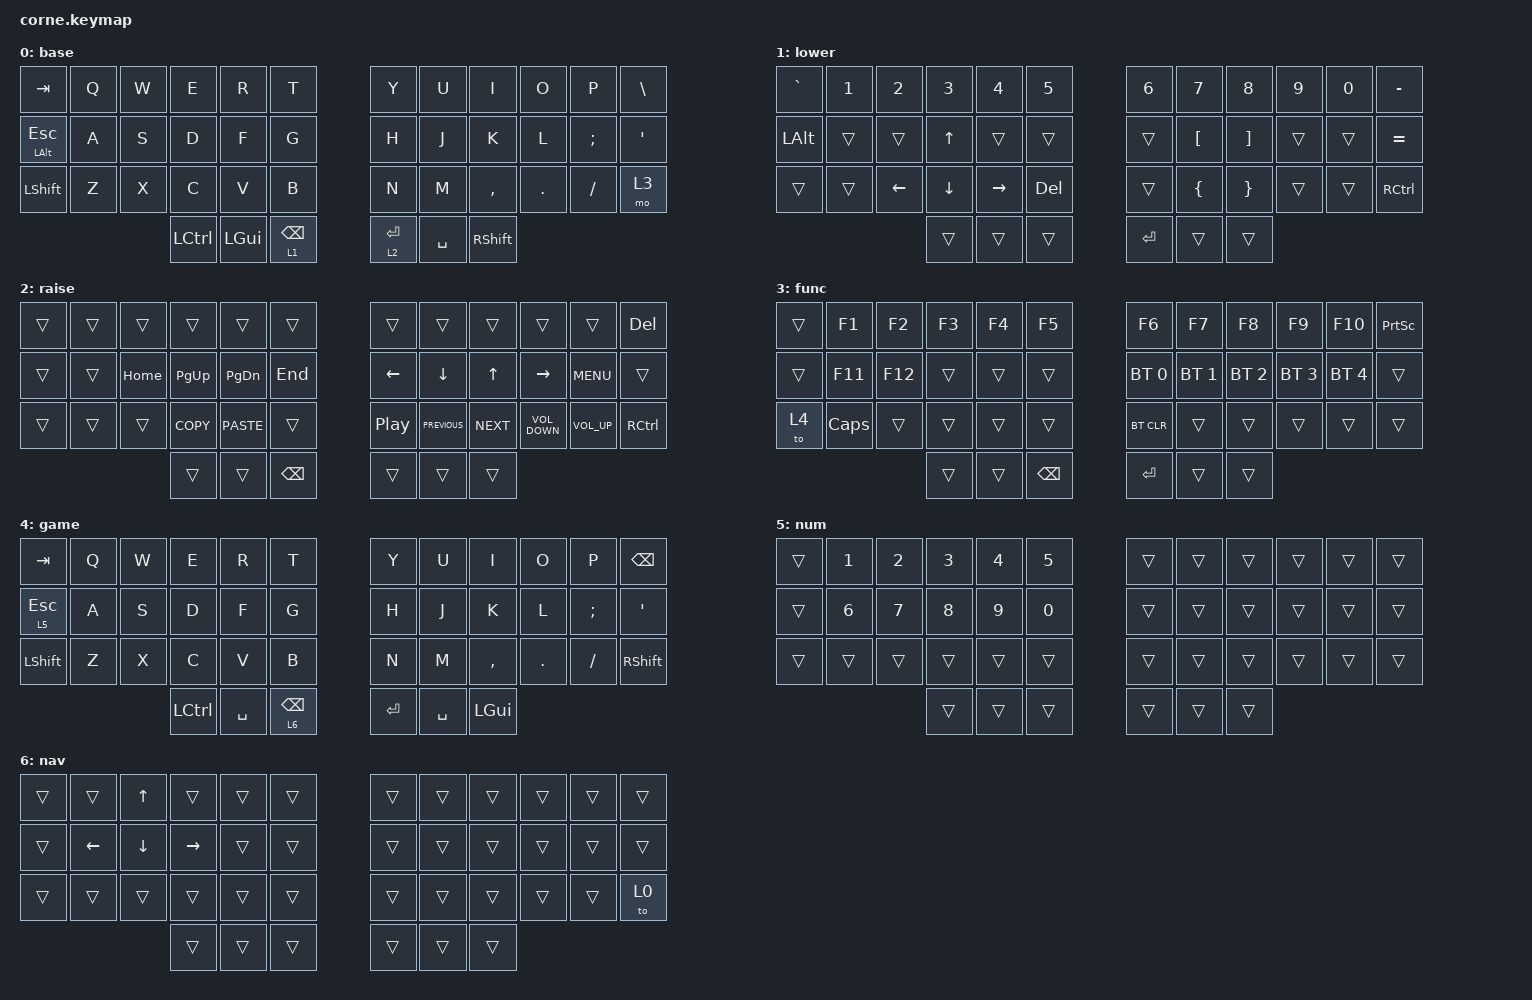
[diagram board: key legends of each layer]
/*
 * Copyright (c) 2020 The ZMK Contributors
 *
 * SPDX-License-Identifier: MIT
 */

#include <behaviors.dtsi>
#include <dt-bindings/zmk/bt.h>
#include <dt-bindings/zmk/keys.h>

&lt {
    tapping-term-ms = <150>;
    quick-tap-ms = <100>;
    flavor = "hold-preferred";
};

&mt {
    tapping-term-ms = <150>;
    quick-tap-ms = <100>;
    flavor = "tap-unless-interrupted";
};

/ {
    combos {
        compatible = "zmk,combos";

        j+k {
            bindings = <&kp ESCAPE>;
            key-positions = <19 20>;
        };

        d+f {
            bindings = <&kp ESCAPE>;
            key-positions = <16 15>;
        };
    };

    keymap {
        compatible = "zmk,keymap";

        base_layer {
            // -----------------------------------------------------------------------------------------
            // |  TAB |  Q  |  W  |  E  |  R  |  T  |   |  Y  |  U   |  I  |  O  |  P  | BSPC |
            // | CTRL |  A  |  S  |  D  |  F  |  G  |   |  H  |  J   |  K  |  L  |  ;  |  '   |
            // | SHFT |  Z  |  X  |  C  |  V  |  B  |   |  N  |  M   |  ,  |  .  |  /  | ESC  |
            //                    | GUI | LWR | SPC |   | ENT | RSE  | ALT |
            // NOTE: this explicit label definition is required for the layers to be displayed in nice-view-gem

            display-name = "base";
            bindings = <
&kp TAB              &kp Q  &kp W  &kp E             &kp R     &kp T              &kp Y        &kp U      &kp I            &kp O    &kp P     &kp BACKSLASH
&mt LEFT_ALT ESCAPE  &kp A  &kp S  &kp D             &kp F     &kp G              &kp H        &kp J      &kp K            &kp L    &kp SEMI  &kp SQT
&kp LEFT_SHIFT       &kp Z  &kp X  &kp C             &kp V     &kp B              &kp N        &kp M      &kp COMMA        &kp DOT  &kp FSLH  &mo 3
                                   &kp LEFT_CONTROL  &kp LGUI  &lt 1 BACKSPACE    &lt 2 ENTER  &kp SPACE  &kp RIGHT_SHIFT
            >;
        };

        lower_layer {
            // -----------------------------------------------------------------------------------------
            // |  TAB |  1  |  2  |  3  |  4  |  5  |   |  6  |  7  |  8  |  9  |  0  | BSPC |
            // | BTCLR| BT1 | BT2 | BT3 | BT4 | BT5 |   | LFT | DWN |  UP | RGT |     |      |
            // | SHFT |     |     |     |     |     |   |     |     |     |     |     |      |
            //                    | GUI |     | SPC |   | ENT |     | ALT |
            // NOTE: this explicit label definition is required for the layers to be displayed in nice-view-gem

            display-name = "lower";
            bindings = <
&kp GRAVE     &kp NUMBER_1  &kp NUMBER_2    &kp NUMBER_3    &kp NUMBER_4     &kp NUMBER_5    &kp NUMBER_6  &kp NUMBER_7      &kp NUMBER_8       &kp NUMBER_9  &kp NUMBER_0  &kp MINUS
&kp LEFT_ALT  &trans        &trans          &kp UP_ARROW    &trans           &trans          &trans        &kp LEFT_BRACKET  &kp RIGHT_BRACKET  &trans        &trans        &kp EQUAL
&trans        &trans        &kp LEFT_ARROW  &kp DOWN_ARROW  &kp RIGHT_ARROW  &kp DELETE      &trans        &kp LEFT_BRACE    &kp RIGHT_BRACE    &trans        &trans        &kp RCTRL
                                            &trans          &trans           &trans          &kp ENTER     &trans            &trans
            >;
        };

        raise_layer {
            // -----------------------------------------------------------------------------------------
            // |  TAB |  !  |  @  |  #  |  $  |  %  |   |  ^  |  &  |  *  |  (  |  )  | BSPC |
            // | CTRL |     |     |     |     |     |   |  -  |  =  |  [  |  ]  |  \  |  `   |
            // | SHFT |     |     |     |     |     |   |  _  |  +  |  {  |  }  | "|" |  ~   |
            //                    | GUI |     | SPC |   | ENT |     | ALT |
            // NOTE: this explicit label definition is required for the layers to be displayed in nice-view-gem

            display-name = "raise";
            bindings = <
&trans  &trans  &trans    &trans       &trans         &trans           &trans            &trans          &trans        &trans             &trans           &kp DELETE
&trans  &trans  &kp HOME  &kp PAGE_UP  &kp PAGE_DOWN  &kp END          &kp LEFT_ARROW    &kp DOWN_ARROW  &kp UP_ARROW  &kp RIGHT_ARROW    &kp K_MENU       &trans
&trans  &trans  &trans    &kp K_COPY   &kp K_PASTE    &trans           &kp C_PLAY_PAUSE  &kp C_PREVIOUS  &kp C_NEXT    &kp C_VOLUME_DOWN  &kp C_VOLUME_UP  &kp RCTRL
                          &trans       &trans         &kp BACKSPACE    &trans            &trans          &trans
            >;
        };

        func_layer {
            // NOTE: this explicit label definition is required for the layers to be displayed in nice-view-gem

            display-name = "func";
            bindings = <
&trans  &kp F1    &kp F2   &kp F3  &kp F4  &kp F5           &kp F6        &kp F7        &kp F8        &kp F9        &kp F10       &kp PRINTSCREEN
&trans  &kp F11   &kp F12  &trans  &trans  &trans           &bt BT_SEL 0  &bt BT_SEL 1  &bt BT_SEL 2  &bt BT_SEL 3  &bt BT_SEL 4  &trans
&to 4   &kp CAPS  &trans   &trans  &trans  &trans           &bt BT_CLR    &trans        &trans        &trans        &trans        &trans
                           &trans  &trans  &kp BACKSPACE    &kp ENTER     &trans        &trans
            >;
        };

        game_layer {
            display-name = "game";
            bindings = <
&kp TAB       &kp Q  &kp W  &kp E      &kp R      &kp T              &kp Y      &kp U      &kp I      &kp O    &kp P     &kp BSPC
&lt 5 ESCAPE  &kp A  &kp S  &kp D      &kp F      &kp G              &kp H      &kp J      &kp K      &kp L    &kp SEMI  &kp APOS
&kp LSHFT     &kp Z  &kp X  &kp C      &kp V      &kp B              &kp N      &kp M      &kp COMMA  &kp DOT  &kp FSLH  &kp RIGHT_SHIFT
                            &kp LCTRL  &kp SPACE  &lt 6 BACKSPACE    &kp ENTER  &kp SPACE  &kp LGUI
            >;
        };

        num_layer {
            display-name = "num";
            bindings = <
&trans  &kp N1  &kp N2  &kp N3  &kp N4  &kp N5    &trans  &trans  &trans  &trans  &trans  &trans
&trans  &kp N6  &kp N7  &kp N8  &kp N9  &kp N0    &trans  &trans  &trans  &trans  &trans  &trans
&trans  &trans  &trans  &trans  &trans  &trans    &trans  &trans  &trans  &trans  &trans  &trans
                        &trans  &trans  &trans    &trans  &trans  &trans
            >;
        };

        nav_layer {
            display-name = "nav";
            bindings = <
&trans  &trans          &kp UP_ARROW    &trans           &trans  &trans    &trans  &trans  &trans  &trans  &trans  &trans
&trans  &kp LEFT_ARROW  &kp DOWN_ARROW  &kp RIGHT_ARROW  &trans  &trans    &trans  &trans  &trans  &trans  &trans  &trans
&trans  &trans          &trans          &trans           &trans  &trans    &trans  &trans  &trans  &trans  &trans  &to 0
                                        &trans           &trans  &trans    &trans  &trans  &trans
            >;
        };
    };
};
